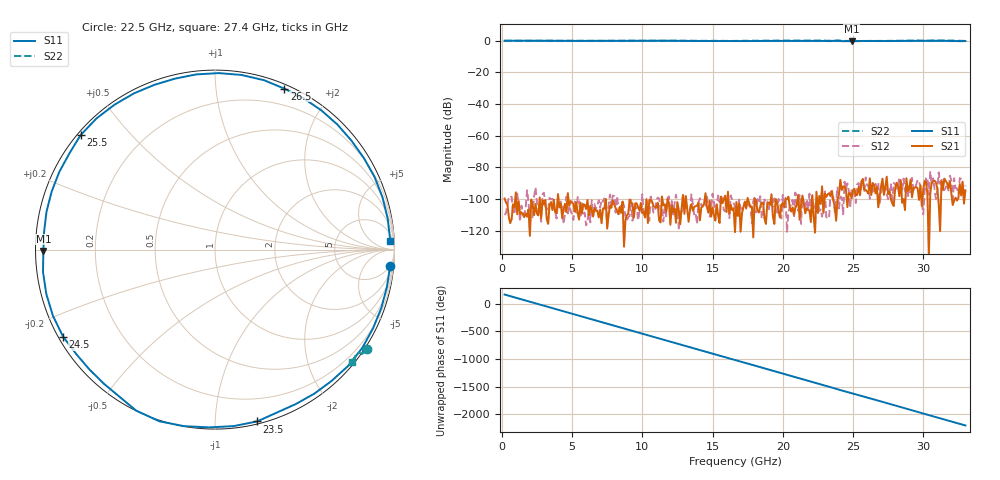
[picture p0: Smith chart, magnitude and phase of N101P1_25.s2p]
# GHZ S RI R 50
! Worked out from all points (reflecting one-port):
!   329 points, 200 MHz to 33 GHz, reference 50 ohm
!   lowest |S11| = -0.4 dB at 24.9 GHz (marker M1), VSWR 44.80, Z = 1.12 - j0.195 ohm
!   phase of S11 starts at 165 deg and turns -2368 deg over the sweep
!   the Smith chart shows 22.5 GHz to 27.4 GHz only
!   S11 on the Smith chart (normalised r, x): 22.5 GHz: 5, -21; 23.5 GHz: 0.02, -1.27; 24.5 GHz: 0.01, -0.27; 25.5 GHz: 0.01, +0.37; 26.5 GHz: 0.04, +1.52; 27.4 GHz: 14, +33
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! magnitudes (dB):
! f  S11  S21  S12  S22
! 200 MHz  0.0  -99.7  -110.2  0.0
! 5.7 GHz  -0.1  -109.2  -101.6  -0.1
! 11.2 GHz  0.0  -113.6  -99.7  0.0
! 16.6 GHz  -0.2  -121.0  -105.0  -0.1
! 20.4 GHz  0.0  -98.6  -108.7  0.1
! 22.1 GHz  -0.1  -98.1  -97.5  0.1
! 22.5 GHz  -0.2  -108.9  -101.0  0.1
! 23.4 GHz  -0.3  -98.1  -95.4  0.0
! 23.5 GHz  -0.1  -94.9  -99.3  0.0
! 23.9 GHz  0.0  -100.0  -92.7  0.1
! 24.2 GHz  -0.3  -94.3  -99.2  -0.1
! 24.5 GHz  -0.2  -94.3  -94.0  -0.1
! 24.9 GHz  -0.4  -99.6  -93.5  -0.2
! 25.5 GHz  -0.1  -97.2  -97.8  -0.2
! 26.5 GHz  -0.2  -91.1  -93.1  -0.1
! 27.4 GHz  -0.2  -85.9  -96.8  -0.1
! 27.6 GHz  -0.2  -95.2  -94.9  -0.1
! 29 GHz  -0.1  -93.4  -91.8  0.1
! 30.2 GHz  -0.1  -89.2  -86.3  0.0
! 31.3 GHz  0.0  -88.9  -86.8  0.1
! 31.9 GHz  -0.2  -89.1  -85.3  0.2
! 33 GHz  -0.2  -94.6  -91.4  -0.1
